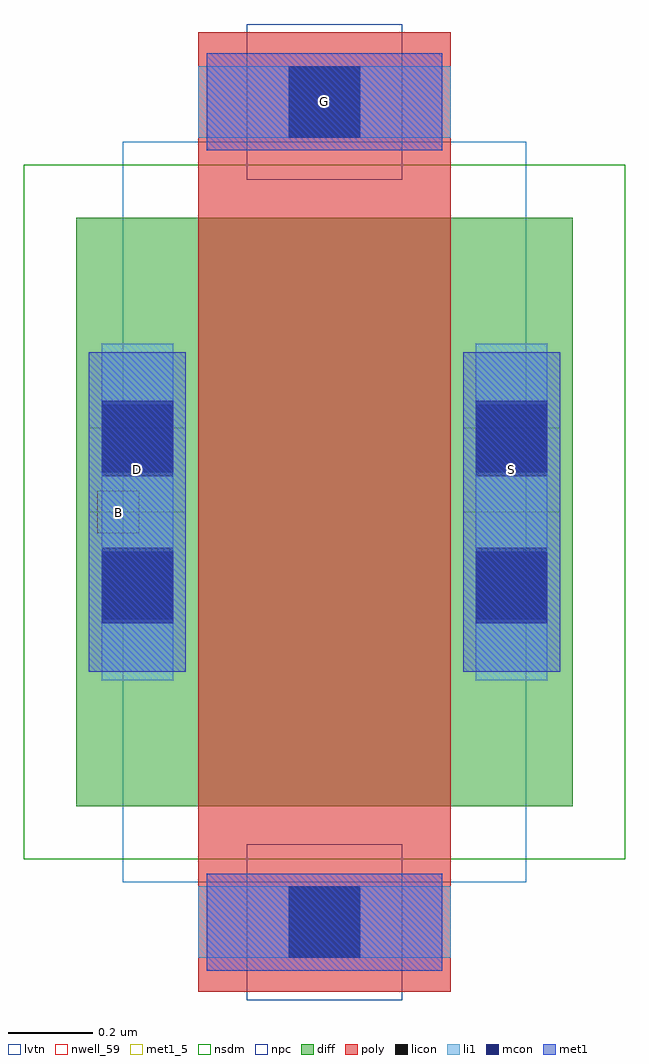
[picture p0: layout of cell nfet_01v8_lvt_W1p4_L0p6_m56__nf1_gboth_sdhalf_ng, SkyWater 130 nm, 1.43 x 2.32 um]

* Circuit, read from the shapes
.subckt nfet_01v8_lvt_W1p4_L0p6_m56__nf1_gboth_sdhalf_ng B D G S
XM1 S G D B sky130_fd_pr__nfet_01v8_lvt w=1.4 l=0.6
.ends

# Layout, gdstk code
import gdstk
lib = gdstk.Library(unit=1e-6, precision=1e-09)
def R(c, l, rs):  # rectangles x0, y0, x1, y1
    for r in rs: c.add(gdstk.rectangle(r[:2], r[2:], *l))
nwell_59 = (64, 59)
diff = (65, 20)
poly = (66, 20)
licon = (66, 44)
li1 = (67, 20)
mcon = (67, 44)
met1_5 = (68, 5)
met1 = (68, 20)
nsdm = (93, 44)
npc = (95, 20)
lvtn = (125, 44)

sky130_fd_pr__nfet_01v8_ = lib.new_cell('sky130_fd_pr__nfet_01v8_lvt_C4GTDY')
R(sky130_fd_pr__nfet_01v8_, diff, [(-0.59,-0.7,0.59,0.7)])
R(sky130_fd_pr__nfet_01v8_, poly, [(-0.3,-1.14,0.3,1.14)])
R(sky130_fd_pr__nfet_01v8_, licon, [(-0.085,-1.06,0.085,-0.89), (-0.53,-0.255,-0.36,-0.085), (0.36,-0.255,0.53,-0.085), (-0.53,0.085,-0.36,0.255), (0.36,0.085,0.53,0.255), (-0.085,0.89,0.085,1.06)])
R(sky130_fd_pr__nfet_01v8_, li1, [(-0.3,-1.06,0.3,-0.89), (-0.53,-0.4,-0.36,0.4), (0.36,-0.4,0.53,0.4), (-0.3,0.89,0.3,1.06)])
R(sky130_fd_pr__nfet_01v8_, mcon, [(-0.085,-1.06,0.085,-0.89), (-0.53,-0.265,-0.36,-0.095), (0.36,-0.265,0.53,-0.095), (-0.53,0.095,-0.36,0.265), (0.36,0.095,0.53,0.265), (-0.085,0.89,0.085,1.06)])
R(sky130_fd_pr__nfet_01v8_, met1, [(-0.28,-1.09,0.28,-0.86), (-0.56,-0.38,-0.33,0.38), (0.33,-0.38,0.56,0.38), (-0.28,0.86,0.28,1.09)])
R(sky130_fd_pr__nfet_01v8_, nsdm, [(-0.715,-0.825,0.715,0.825)])
R(sky130_fd_pr__nfet_01v8_, npc, [(-0.185,-1.16,0.185,-0.79), (-0.185,0.79,0.185,1.16)])
R(sky130_fd_pr__nfet_01v8_, lvtn, [(-0.48,-0.88,0.48,0.88)])
sky130_fd_pr__nfet_01v8_.add(gdstk.Label('D', (-0.445,0), layer=67, texttype=5))
sky130_fd_pr__nfet_01v8_.add(gdstk.Label('S', (0.445,0), layer=67, texttype=5))
sky130_fd_pr__nfet_01v8_.add(gdstk.Label('G', (0,0.975), layer=67, texttype=5))

nfet_01v8_lvt_w1p4_l0p6_ = lib.new_cell('nfet_01v8_lvt_W1p4_L0p6_m56__nf1_gboth_sdhalf_ng')
R(nfet_01v8_lvt_w1p4_l0p6_, nwell_59, [(0.05,1.09,0.15,1.19)])
R(nfet_01v8_lvt_w1p4_l0p6_, met1_5, [(0.03,1.14,0.26,1.34), (0.92,1.14,1.15,1.34), (0.31,2,0.87,2.23)])
R(nfet_01v8_lvt_w1p4_l0p6_, met1, [(0.03,1.14,0.26,1.34), (0.92,1.14,1.15,1.34), (0.31,2,0.87,2.23)])
nfet_01v8_lvt_w1p4_l0p6_.add(gdstk.Reference(sky130_fd_pr__nfet_01v8_, (0.59,1.14)))
nfet_01v8_lvt_w1p4_l0p6_.add(gdstk.Label('D', (0.145,1.24), layer=68, texttype=5))
nfet_01v8_lvt_w1p4_l0p6_.add(gdstk.Label('S', (1.035,1.24), layer=68, texttype=5))
nfet_01v8_lvt_w1p4_l0p6_.add(gdstk.Label('G', (0.59,2.115), layer=68, texttype=5))
nfet_01v8_lvt_w1p4_l0p6_.add(gdstk.Label('B', (0.1,1.14), layer=64, texttype=59))

lib.write_gds('nfet_01v8_lvt_W1p4_L0p6_m56__nf1_gboth_sdhalf_ng.gds')
